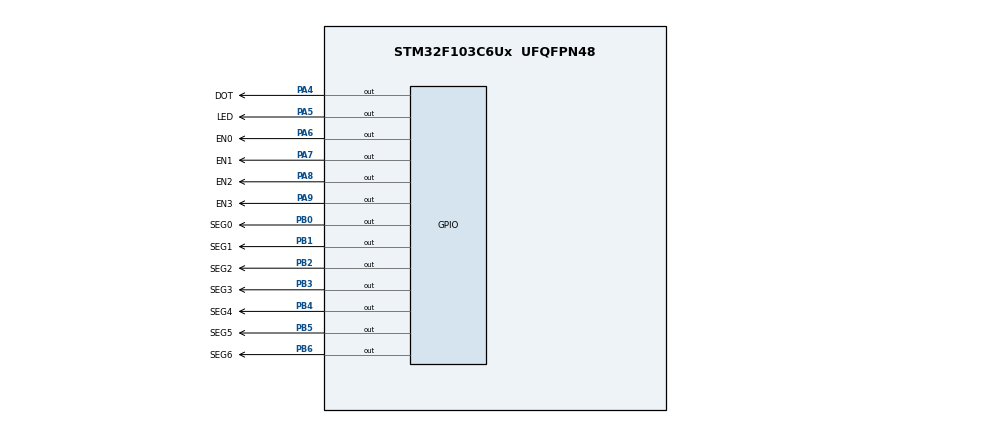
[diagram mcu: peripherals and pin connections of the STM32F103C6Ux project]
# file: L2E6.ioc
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Mcu.Family=STM32F1
Mcu.Name=STM32F103C6Ux
Mcu.Package=UFQFPN48
NVIC.PriorityGroup=NVIC_PRIORITYGROUP_4
NVIC.TIM2_IRQn=true\:0\:0\:false\:false\:true\:true\:true
PA13.Mode=Serial_Wire
PA13.Signal=SYS_JTMS-SWDIO
PA14.Mode=Serial_Wire
PA14.Signal=SYS_JTCK-SWCLK
PA4.GPIO_Label=DOT
PA4.Signal=GPIO_Output
PA5.GPIO_Label=LED
PA5.Signal=GPIO_Output
PA6.GPIO_Label=EN0
PA6.Signal=GPIO_Output
PA7.GPIO_Label=EN1
PA7.Signal=GPIO_Output
PA8.GPIO_Label=EN2
PA8.Signal=GPIO_Output
PA9.GPIO_Label=EN3
PA9.Signal=GPIO_Output
PB0.GPIO_Label=SEG0
PB0.Signal=GPIO_Output
PB1.GPIO_Label=SEG1
PB1.Signal=GPIO_Output
PB2.GPIO_Label=SEG2
PB2.Signal=GPIO_Output
PB3.GPIO_Label=SEG3
PB3.Signal=GPIO_Output
PB4.GPIO_Label=SEG4
PB4.Signal=GPIO_Output
PB5.GPIO_Label=SEG5
PB5.Signal=GPIO_Output
PB6.GPIO_Label=SEG6
PB6.Signal=GPIO_Output
ProjectManager.HeapSize=0x200
ProjectManager.StackSize=0x400
ProjectManager.TargetToolchain=STM32CubeIDE
RCC.APB1Freq_Value=8000000
RCC.APB2Freq_Value=8000000
TIM2.Period=9
TIM2.Prescaler=7999
VP_TIM2_VS_ClockSourceINT.Mode=Internal
board=custom

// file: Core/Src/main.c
/* USER CODE BEGIN Header */
/**
  ******************************************************************************
  * @file           : main.c
  * @brief          : Main program body
  ******************************************************************************
  * @attention
  *
  * <h2><center>&copy; Copyright (c) 2024 STMicroelectronics.
  * All rights reserved.</center></h2>
  *
  * This software component is licensed by ST under BSD 3-Clause license,
  * the "License"; You may not use this file except in compliance with the
  * License. You may obtain a copy of the License at:
  *                        opensource.org/licenses/BSD-3-Clause
  *
  ******************************************************************************
  */
/* USER CODE END Header */
#include "main.h"
void display7SEG(int num);
void update7SEG(int index);
void updateClockBuffer();

TIM_HandleTypeDef htim2;

void SystemClock_Config(void);
static void MX_GPIO_Init(void);
static void MX_TIM2_Init(void);

/* USER CODE BEGIN 0 */
const int MAX_LED = 4;
int index_led = 0;
int led_buffer[4] = {0, 0, 0, 0};
int hour = 15 , minute = 8 , second = 50;
int timer0_counter = 0;
int timer0_flag = 0;
int timer1_counter = 0;
int timer1_flag = 0;
int timer2_counter = 0;
int timer2_flag = 0;
int TIMER_CYCLE = 10;
void setTimer0(int duration){
	timer0_counter = duration / TIMER_CYCLE ;
	timer0_flag = 0;
}
void setTimer1(int duration){
	timer1_counter = duration / TIMER_CYCLE ;
	timer1_flag = 0;
}
void setTimer2(int duration){
	timer2_counter = duration / TIMER_CYCLE ;
	timer2_flag = 0;
}

void timer_run(){
	if( timer0_counter > 0){
		timer0_counter--;
		if(timer0_counter == 0) timer0_flag = 1;
	}
	if( timer1_counter > 0){
		timer1_counter--;
		if(timer1_counter == 0) timer1_flag = 1;
	}
	if( timer2_counter > 0){
		timer2_counter--;
		if(timer2_counter == 0) timer2_flag = 1;
	}
}
/* USER CODE END 0 */
void updateClockBuffer(){
    led_buffer[0] = hour / 10;
    led_buffer[1] = hour % 10;
    led_buffer[2] = minute / 10;
    led_buffer[3] = minute % 10;
}

void update7SEG(int index){
	switch(index){
	case 0:
		display7SEG(led_buffer[0]);
    	HAL_GPIO_WritePin(GPIOA, EN0_Pin, 0);
    	HAL_GPIO_WritePin(GPIOA, EN1_Pin, 1);
    	HAL_GPIO_WritePin(GPIOA, EN2_Pin, 1);
    	HAL_GPIO_WritePin(GPIOA, EN3_Pin, 1);
		break;
	case 1:
		display7SEG(led_buffer[1]);
    	HAL_GPIO_WritePin(GPIOA, EN0_Pin, 1);
    	HAL_GPIO_WritePin(GPIOA, EN1_Pin, 0);
    	HAL_GPIO_WritePin(GPIOA, EN2_Pin, 1);
    	HAL_GPIO_WritePin(GPIOA, EN3_Pin, 1);
		break;
	case 2:
		display7SEG(led_buffer[2]);
    	HAL_GPIO_WritePin(GPIOA, EN0_Pin, 1);
    	HAL_GPIO_WritePin(GPIOA, EN1_Pin, 1);
    	HAL_GPIO_WritePin(GPIOA, EN2_Pin, 0);
    	HAL_GPIO_WritePin(GPIOA, EN3_Pin, 1);
		break;
	case 3:
		display7SEG(led_buffer[3]);
    	HAL_GPIO_WritePin(GPIOA, EN0_Pin, 1);
    	HAL_GPIO_WritePin(GPIOA, EN1_Pin, 1);
    	HAL_GPIO_WritePin(GPIOA, EN2_Pin, 1);
    	HAL_GPIO_WritePin(GPIOA, EN3_Pin, 0);
		break;
	default:
		break;
	}
}

void display7SEG(int num){
	  switch (num)
	      {
	      case 0:
	          HAL_GPIO_WritePin(GPIOB, SEG0_Pin | SEG1_Pin | SEG2_Pin | SEG3_Pin | SEG4_Pin | SEG5_Pin, GPIO_PIN_RESET);
	          HAL_GPIO_WritePin(GPIOB, SEG6_Pin, GPIO_PIN_SET);
	          break;
	      case 1:
	          HAL_GPIO_WritePin(GPIOB, SEG1_Pin | SEG2_Pin , GPIO_PIN_RESET);
	          HAL_GPIO_WritePin(GPIOB, SEG0_Pin | SEG6_Pin | SEG3_Pin | SEG4_Pin | SEG5_Pin, GPIO_PIN_SET);
	          break;
	      case 2:
	          HAL_GPIO_WritePin(GPIOB, SEG0_Pin | SEG1_Pin | SEG6_Pin | SEG3_Pin | SEG4_Pin , GPIO_PIN_RESET);
	          HAL_GPIO_WritePin(GPIOB, SEG2_Pin | SEG5_Pin, GPIO_PIN_SET);
	          break;
	      case 3:
	          HAL_GPIO_WritePin(GPIOB, SEG0_Pin | SEG1_Pin | SEG2_Pin | SEG3_Pin | SEG6_Pin, GPIO_PIN_RESET);
	          HAL_GPIO_WritePin(GPIOB, SEG4_Pin| SEG5_Pin, GPIO_PIN_SET);
	          break;
	      case 4:
	          HAL_GPIO_WritePin(GPIOB, SEG1_Pin | SEG2_Pin | SEG5_Pin | SEG6_Pin , GPIO_PIN_RESET);
	          HAL_GPIO_WritePin(GPIOB, SEG0_Pin| SEG3_Pin | SEG4_Pin, GPIO_PIN_SET);
	          break;
	      case 5:
	          HAL_GPIO_WritePin(GPIOB, SEG0_Pin | SEG2_Pin | SEG3_Pin | SEG5_Pin | SEG6_Pin, GPIO_PIN_RESET);
	          HAL_GPIO_WritePin(GPIOB, SEG1_Pin | SEG4_Pin , GPIO_PIN_SET);
	          break;
	      case 6:
	          HAL_GPIO_WritePin(GPIOB, SEG0_Pin | SEG2_Pin | SEG3_Pin | SEG4_Pin | SEG5_Pin | SEG6_Pin, GPIO_PIN_RESET);
	          HAL_GPIO_WritePin(GPIOB, SEG1_Pin, GPIO_PIN_SET);
	          break;
	      case 7:
	          HAL_GPIO_WritePin(GPIOB, SEG0_Pin | SEG1_Pin | SEG2_Pin , GPIO_PIN_RESET);
	          HAL_GPIO_WritePin(GPIOB, SEG3_Pin| SEG4_Pin | SEG5_Pin | SEG6_Pin, GPIO_PIN_SET);
	          break;
	      case 8:
	          HAL_GPIO_WritePin(GPIOB, SEG0_Pin | SEG1_Pin | SEG2_Pin | SEG3_Pin | SEG4_Pin | SEG5_Pin | SEG6_Pin, GPIO_PIN_RESET);
	          break;
	      case 9:
	          HAL_GPIO_WritePin(GPIOB, SEG0_Pin | SEG1_Pin | SEG2_Pin | SEG3_Pin | SEG5_Pin | SEG6_Pin, GPIO_PIN_RESET);
	          HAL_GPIO_WritePin(GPIOB, SEG4_Pin, GPIO_PIN_SET);
	          break;
	      }
}
int main(void)
{

  /* MCU Configuration--------------------------------------------------------*/

  /* Reset of all peripherals, Initializes the Flash interface and the Systick. */
  HAL_Init();

  /* Configure the system clock */
  SystemClock_Config();

  /* Initialize all configured peripherals */
  MX_GPIO_Init();
  MX_TIM2_Init();
  /* USER CODE BEGIN 2 */
  HAL_TIM_Base_Start_IT(&htim2);
  /* USER CODE END 2 */

  /* Infinite loop */
  /* USER CODE BEGIN WHILE */
  setTimer0(1000);
  setTimer1(1000);
  while (1)
  {
    /* USER CODE END WHILE */
	  if(timer0_flag == 1){
		  HAL_GPIO_TogglePin(LED_GPIO_Port , LED_Pin);
		  HAL_GPIO_TogglePin(DOT_GPIO_Port, DOT_Pin);
		  setTimer0(1000);
	  }

	  if(timer1_flag == 1){
		  second++;
		  if(second >= 60){
			  second = 0;
			  minute++;
		  }
		  if(minute >= 60){
			  minute = 0;
			  hour++;
		  }
		  if(hour >=24){
			  hour = 0;
		  }
		  updateClockBuffer();
		  setTimer1(1000);
	  }
  }
}

void SystemClock_Config(void)
{
  RCC_OscInitTypeDef RCC_OscInitStruct = {0};
  RCC_ClkInitTypeDef RCC_ClkInitStruct = {0};

  /** Initializes the RCC Oscillators according to the specified parameters
  * in the RCC_OscInitTypeDef structure.
  */
  RCC_OscInitStruct.OscillatorType = RCC_OSCILLATORTYPE_HSI;
  RCC_OscInitStruct.HSIState = RCC_HSI_ON;
  RCC_OscInitStruct.HSICalibrationValue = RCC_HSICALIBRATION_DEFAULT;
  RCC_OscInitStruct.PLL.PLLState = RCC_PLL_NONE;
  if (HAL_RCC_OscConfig(&RCC_OscInitStruct) != HAL_OK)
  {
    Error_Handler();
  }
  /** Initializes the CPU, AHB and APB buses clocks
  */
  RCC_ClkInitStruct.ClockType = RCC_CLOCKTYPE_HCLK|RCC_CLOCKTYPE_SYSCLK
                              |RCC_CLOCKTYPE_PCLK1|RCC_CLOCKTYPE_PCLK2;
  RCC_ClkInitStruct.SYSCLKSource = RCC_SYSCLKSOURCE_HSI;
  RCC_ClkInitStruct.AHBCLKDivider = RCC_SYSCLK_DIV1;
  RCC_ClkInitStruct.APB1CLKDivider = RCC_HCLK_DIV1;
  RCC_ClkInitStruct.APB2CLKDivider = RCC_HCLK_DIV1;

  if (HAL_RCC_ClockConfig(&RCC_ClkInitStruct, FLASH_LATENCY_0) != HAL_OK)
  {
    Error_Handler();
  }
}

static void MX_TIM2_Init(void)
{

  TIM_ClockConfigTypeDef sClockSourceConfig = {0};
  TIM_MasterConfigTypeDef sMasterConfig = {0};

  htim2.Instance = TIM2;
  htim2.Init.Prescaler = 7999;
  htim2.Init.CounterMode = TIM_COUNTERMODE_UP;
  htim2.Init.Period = 9;
  htim2.Init.ClockDivision = TIM_CLOCKDIVISION_DIV1;
  htim2.Init.AutoReloadPreload = TIM_AUTORELOAD_PRELOAD_DISABLE;
  if (HAL_TIM_Base_Init(&htim2) != HAL_OK)
  {
    Error_Handler();
  }
  sClockSourceConfig.ClockSource = TIM_CLOCKSOURCE_INTERNAL;
  if (HAL_TIM_ConfigClockSource(&htim2, &sClockSourceConfig) != HAL_OK)
  {
    Error_Handler();
  }
  sMasterConfig.MasterOutputTrigger = TIM_TRGO_RESET;
  sMasterConfig.MasterSlaveMode = TIM_MASTERSLAVEMODE_DISABLE;
  if (HAL_TIMEx_MasterConfigSynchronization(&htim2, &sMasterConfig) != HAL_OK)
  {
    Error_Handler();
  }

}

static void MX_GPIO_Init(void)
{
  GPIO_InitTypeDef GPIO_InitStruct = {0};

  /* GPIO Ports Clock Enable */
  __HAL_RCC_GPIOA_CLK_ENABLE();
  __HAL_RCC_GPIOB_CLK_ENABLE();

  /*Configure GPIO pin Output Level */
  HAL_GPIO_WritePin(GPIOA, DOT_Pin|LED_Pin|EN0_Pin|EN1_Pin
                          |EN2_Pin|EN3_Pin, GPIO_PIN_RESET);

  /*Configure GPIO pin Output Level */
  HAL_GPIO_WritePin(GPIOB, SEG0_Pin|SEG1_Pin|SEG2_Pin|SEG3_Pin
                          |SEG4_Pin|SEG5_Pin|SEG6_Pin, GPIO_PIN_RESET);

  /*Configure GPIO pins : DOT_Pin LED_Pin EN0_Pin EN1_Pin
                           EN2_Pin EN3_Pin */
  GPIO_InitStruct.Pin = DOT_Pin|LED_Pin|EN0_Pin|EN1_Pin
                          |EN2_Pin|EN3_Pin;
  GPIO_InitStruct.Mode = GPIO_MODE_OUTPUT_PP;
  GPIO_InitStruct.Pull = GPIO_NOPULL;
  GPIO_InitStruct.Speed = GPIO_SPEED_FREQ_LOW;
  HAL_GPIO_Init(GPIOA, &GPIO_InitStruct);

  /*Configure GPIO pins : SEG0_Pin SEG1_Pin SEG2_Pin SEG3_Pin
                           SEG4_Pin SEG5_Pin SEG6_Pin */
  GPIO_InitStruct.Pin = SEG0_Pin|SEG1_Pin|SEG2_Pin|SEG3_Pin
                          |SEG4_Pin|SEG5_Pin|SEG6_Pin;
  GPIO_InitStruct.Mode = GPIO_MODE_OUTPUT_PP;
  GPIO_InitStruct.Pull = GPIO_NOPULL;
  GPIO_InitStruct.Speed = GPIO_SPEED_FREQ_LOW;
  HAL_GPIO_Init(GPIOB, &GPIO_InitStruct);

}

/* USER CODE BEGIN 4 */
int counter = 100;
void HAL_TIM_PeriodElapsedCallback (TIM_HandleTypeDef *htim){
	timer_run();
    if(htim->Instance == TIM2){
        counter--;
        if(counter>=75 && counter<100){
        	update7SEG(0);
        }
        if(counter>=50 && counter<75){
        	update7SEG(1);
        }
        if(counter>=25 && counter<50){
        	update7SEG(2);
        }
        if(counter>=0 && counter<25){
        	update7SEG(3);
        }
        if(counter==0){
        	counter = 100;
        }
    }
}
/* USER CODE END 4 */

void Error_Handler(void)
{
  __disable_irq();
  while (1)
  {
  }
}

/************************ (C) COPYRIGHT STMicroelectronics *****END OF FILE****/
